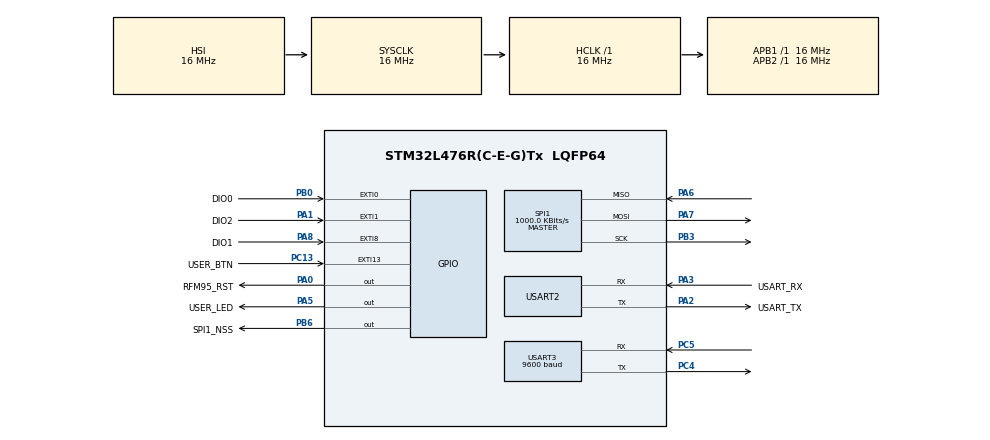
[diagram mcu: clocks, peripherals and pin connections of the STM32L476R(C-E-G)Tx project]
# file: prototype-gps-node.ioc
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Mcu.Family=STM32L4
Mcu.Name=STM32L476R(C-E-G)Tx
Mcu.Package=LQFP64
NVIC.EXTI0_IRQn=true\:0\:0\:false\:false\:true\:true\:true
NVIC.EXTI15_10_IRQn=true\:0\:0\:false\:false\:true\:true\:true
NVIC.EXTI1_IRQn=true\:0\:0\:false\:false\:true\:true\:true
NVIC.EXTI9_5_IRQn=true\:0\:0\:false\:false\:true\:true\:true
NVIC.PriorityGroup=NVIC_PRIORITYGROUP_4
NVIC.SPI1_IRQn=true\:0\:0\:false\:false\:true\:true\:true
NVIC.USART3_IRQn=true\:0\:0\:false\:false\:true\:true\:true
PA0.GPIO_Label=RFM95_RST
PA0.GPIO_ModeDefaultOutputPP=GPIO_MODE_OUTPUT_OD
PA0.PinState=GPIO_PIN_SET
PA0.Signal=GPIO_Output
PA1.GPIO_Label=DIO2
PA1.Signal=GPXTI1
PA13\ (JTMS-SWDIO).GPIO_Label=TMS
PA13\ (JTMS-SWDIO).Mode=Serial_Wire
PA13\ (JTMS-SWDIO).Signal=SYS_JTMS-SWDIO
PA14\ (JTCK-SWCLK).GPIO_Label=TCK
PA14\ (JTCK-SWCLK).Mode=Serial_Wire
PA14\ (JTCK-SWCLK).Signal=SYS_JTCK-SWCLK
PA2.GPIO_Label=USART_TX
PA2.GPIO_Mode=GPIO_MODE_AF_PP
PA2.GPIO_PuPd=GPIO_NOPULL
PA2.GPIO_Speed=GPIO_SPEED_FREQ_VERY_HIGH
PA2.Mode=Asynchronous
PA2.Signal=USART2_TX
PA3.GPIO_Label=USART_RX
PA3.GPIO_Mode=GPIO_MODE_AF_PP
PA3.GPIO_PuPd=GPIO_NOPULL
PA3.GPIO_Speed=GPIO_SPEED_FREQ_VERY_HIGH
PA3.Mode=Asynchronous
PA3.Signal=USART2_RX
PA5.GPIO_Label=USER_LED
PA5.Signal=GPIO_Output
PA6.Mode=Full_Duplex_Master
PA6.Signal=SPI1_MISO
PA7.Mode=Full_Duplex_Master
PA7.Signal=SPI1_MOSI
PA8.GPIO_Label=DIO1
PA8.Signal=GPXTI8
PB0.GPIO_Label=DIO0
PB0.Signal=GPXTI0
PB3\ (JTDO-TRACESWO).Mode=Full_Duplex_Master
PB3\ (JTDO-TRACESWO).Signal=SPI1_SCK
PB6.GPIO_Label=SPI1_NSS
PB6.Signal=GPIO_Output
PC13.GPIO_Label=USER_BTN
PC13.Signal=GPXTI13
PC14-OSC32_IN\ (PC14).Mode=LSE-External-Oscillator
PC14-OSC32_IN\ (PC14).Signal=RCC_OSC32_IN
PC15-OSC32_OUT\ (PC15).Mode=LSE-External-Oscillator
PC15-OSC32_OUT\ (PC15).Signal=RCC_OSC32_OUT
PC4.Mode=Asynchronous
PC4.Signal=USART3_TX
PC5.Mode=Asynchronous
PC5.Signal=USART3_RX
PH0-OSC_IN\ (PH0).Signal=RCC_OSC_IN
PH1-OSC_OUT\ (PH1).Signal=RCC_OSC_OUT
ProjectManager.HeapSize=0x200
ProjectManager.StackSize=0x400
ProjectManager.TargetToolchain=STM32CubeIDE
RCC.ADCFreq_Value=64000000
RCC.AHBFreq_Value=16000000
RCC.APB1Freq_Value=16000000
RCC.APB1TimFreq_Value=16000000
RCC.APB2Freq_Value=16000000
RCC.APB2TimFreq_Value=16000000
RCC.CortexFreq_Value=16000000
RCC.HCLKFreq_Value=16000000
RCC.HSE_VALUE=8000000
RCC.HSI_VALUE=16000000
RCC.MSI_VALUE=4000000
RCC.PLLN=10
RCC.PLLSourceVirtual=RCC_PLLSOURCE_HSI
RCC.PREFETCH_ENABLE=1
RCC.SYSCLKFreq_VALUE=16000000
RCC.SYSCLKSource=RCC_SYSCLKSOURCE_HSI
RCC.USBFreq_Value=64000000
RCC.VCOOutputFreq_Value=160000000
SPI1.BaudRatePrescaler=SPI_BAUDRATEPRESCALER_16
SPI1.CalculateBaudRate=1000.0 KBits/s
SPI1.DataSize=SPI_DATASIZE_8BIT
SPI1.Direction=SPI_DIRECTION_2LINES
SPI1.Mode=SPI_MODE_MASTER
SPI1.VirtualType=VM_MASTER
USART2.VirtualMode-Asynchronous=VM_ASYNC
USART3.BaudRate=9600
USART3.VirtualMode-Asynchronous=VM_ASYNC
VP_TIM3_VS_ClockSourceINT.Mode=Internal
board=NUCLEO-L476RG

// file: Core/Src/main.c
/* USER CODE BEGIN Header */
/**
  ******************************************************************************
  * @file           : main.c
  * @brief          : Main program body
  ******************************************************************************
  * @attention
  *
  * <h2><center>&copy; Copyright (c) 2021 STMicroelectronics.
  * All rights reserved.</center></h2>
  *
  * This software component is licensed by ST under BSD 3-Clause license,
  * the "License"; You may not use this file except in compliance with the
  * License. You may obtain a copy of the License at:
  *                        opensource.org/licenses/BSD-3-Clause
  *
  ******************************************************************************
  */
/* USER CODE END Header */
#include "main.h"

/* USER CODE BEGIN Includes */
#include <stdio.h>
#include <string.h>
/* USER CODE END Includes */

/* USER CODE BEGIN PTD */
typedef struct {
	float latitude ;
	float longitude;
	float utctime;
	char ns;
	char ew;
	char valid;
}GPS;
/* USER CODE END PTD */

/* USER CODE BEGIN PD */
#define LORA_MESSAGE_NUM_BYTES      10
/* USER CODE END PD */

/* USER CODE BEGIN PM */
//Choose Spreading Factor with this macro.
#define LORA_SF 					DR_SF7
/* USER CODE END PM */

SPI_HandleTypeDef hspi1;

TIM_HandleTypeDef htim3;

UART_HandleTypeDef huart2;
UART_HandleTypeDef huart3;

/* USER CODE BEGIN PV */

/*
 * GPS PV
 */
uint32_t RxIndex = 0;
uint8_t RxData = 0;
uint8_t GPSBuffer[100] = {0};

GPS gps = {0};

/*
 * LoRaWAN PV
 */
static volatile uint32_t tick = 0;

/* USER CODE END PV */

void SystemClock_Config(void);
static void MX_GPIO_Init(void);
static void MX_USART2_UART_Init(void);
static void MX_SPI1_Init(void);
static void MX_USART3_UART_Init(void);
static void MX_TIM3_Init(void);
/* USER CODE BEGIN PFP */

/*
 * GPS PFP
 */
void SaveGPSData();

/*
 * LoRaWAN PFP
 */
uint8_t getSysTickActiveCounterFlag();
void MYPRINT(char *);
/* USER CODE END PFP */

/* USER CODE BEGIN 0 */
// This EUI must be in little-endian format, so least-significant-byte
// first. When copying an EUI from ttnctl output, this means to reverse
// the bytes. For TTN issued EUIs the last bytes should be 0xD5, 0xB3,
// 0x70.
static const u1_t APPEUI[8] = {0x5F, 0x9B, 0x1C, 0x3F, 0x8B, 0x4A, 0x4A, 0x00};
void os_getArtEui(u1_t *buf) {
	memcpy(buf, APPEUI, 8);
}

// This should also be in little endian format, see above.
static const u1_t DEVEUI[8] = { 0x5F, 0x37, 0x04, 0xD0, 0x7E, 0xD5, 0xB3, 0x70 };
void os_getDevEui(u1_t *buf) {
	memcpy(buf, DEVEUI, 8);
}

// This key should be in big endian format (or, since it is not really a
// number but a block of memory, endianness does not really apply). In
// practice, a key taken from ttnctl can be copied as-is.
static const u1_t APPKEY[16] = { 0xA4, 0x38, 0xC0, 0x57, 0x17, 0xEF, 0xEF, 0xBB, 0xE2, 0x5D, 0xB4, 0x9B, 0x7B, 0xB1, 0x34, 0x63 };
void os_getDevKey(u1_t *buf) {
	memcpy(buf, APPKEY, 16);
}

static uint8_t loradata[LORA_MESSAGE_NUM_BYTES] = { 0 };
static uint8_t lora_port = 2;
static uint8_t lora_confirmed = 0;
static osjob_t sendjob;

static uint16_t retry_interval = 1; // check for no pending jobs next secs to go to sleep
static volatile uint8_t txcomplete = 0; // set, when tx done and ready for next sleep

const lmic_pinmap lmic_pins = { .nss = 6, .rxtx = LMIC_UNUSED_PIN, .rst = 5,
		.dio = { 2, 3, LMIC_UNUSED_PIN }, };

void do_send(osjob_t *j) {
	lmic_tx_error_t error = 0;

	// Check if there is not a current TX/RX job running
	if (LMIC.opmode & OP_TXRXPEND) {
		MYPRINT("OP_TXRXPEND, not sending\r\n");
	} else {
		MYPRINT("Packet queued\r\n");
		// Prepare upstream data transmission at the next possible time.
		error = LMIC_setTxData2(lora_port, loradata, LORA_MESSAGE_NUM_BYTES,
				lora_confirmed);
	}

	switch (error) {
	case LMIC_ERROR_TX_BUSY:
		MYPRINT("LMIC_ERROR_TX_BUSY\r\n");
		break;
	case LMIC_ERROR_TX_TOO_LARGE:
		MYPRINT("LMIC_ERROR_TX_TOO_LARGE\r\n");
		break;
	case LMIC_ERROR_TX_NOT_FEASIBLE:
		MYPRINT("LMIC_ERROR_TX_NOT_FEASIBLE\r\n");
		break;
	case LMIC_ERROR_TX_FAILED:
		MYPRINT("LMIC_ERROR_TX_FAILED\r\n");
		break;
	default:
		break;
	}
}

void onEvent(ev_t ev) {
	switch (ev) {
	case EV_SCAN_TIMEOUT:
		MYPRINT("EV_SCAN_TIMEOUT\r\n");
		break;
	case EV_BEACON_FOUND:
		MYPRINT("EV_BEACON_FOUND\r\n");
		break;
	case EV_BEACON_MISSED:
		MYPRINT("EV_BEACON_MISSED\r\n");
		break;
	case EV_BEACON_TRACKED:
		MYPRINT("EV_BEACON_TRACKED\r\n");
		break;
	case EV_JOINING:
		// normally starts at DR_SF7 and increases if not heard
		// /* set SF10 to get reliable join, potentially decreased over time by ADR */
		// LMIC_setDrTxpow(DR_SF10,14);
		MYPRINT("EV_JOINING\r\n");
		break;
	case EV_JOINED:
		MYPRINT("EV_JOINED\r\n");
		/* enable ADR */
//		LMIC_setAdrMode(1);
		LMIC_setAdrMode(0);
		// Disable link check validation (automatically enabled
		// during join, but not supported by TTN at this time).
		LMIC_setLinkCheckMode(0);
		break;
	case EV_JOIN_FAILED:
		MYPRINT("EV_JOIN_FAILED\r\n");
		break;
	case EV_REJOIN_FAILED:
		MYPRINT("EV_REJOIN_FAILED\r\n");
		break;
	case EV_TXCOMPLETE:
		MYPRINT("EV_TXCOMPLETE\r\n");
		if (LMIC.txrxFlags & TXRX_ACK) {
			MYPRINT("Received ack\r\n");
		}

		if (LMIC.dataLen) {
			MYPRINT("Received data\r\n");

//              fence_parse_rx(&(LMIC.frame[LMIC.dataBeg]), LMIC.dataLen);
		}
		HAL_NVIC_EnableIRQ(EXTI15_10_IRQn);
		txcomplete = 1;
		break;
	case EV_JOIN_TXCOMPLETE:
		// join accept not received
		MYPRINT("EV_JOIN_TXCOMPLETE\r\n");
		break;
	case EV_LOST_TSYNC:
		MYPRINT("EV_LOST_TSYNC\r\n");
		break;
	case EV_RESET:
		MYPRINT("EV_RESET\r\n");
		break;
	case EV_RXCOMPLETE:
		// data received in ping slot
		MYPRINT("EV_RXCOMPLETE\r\n");
		break;
	case EV_LINK_DEAD:
		MYPRINT("EV_LINK_DEAD\r\n");
		break;
	case EV_LINK_ALIVE:
		MYPRINT("EV_LINK_ALIVE\r\n");
		break;
	case EV_TXSTART:
		MYPRINT("EV_TXSTART\r\n");
		break;
	default:
		MYPRINT("Unknown event\r\n");
		break;
	}
}
/* USER CODE END 0 */

int main(void)
{

  /* MCU Configuration--------------------------------------------------------*/

  /* Reset of all peripherals, Initializes the Flash interface and the Systick. */
  HAL_Init();

  /* Configure the system clock */
  SystemClock_Config();

  /* Initialize all configured peripherals */
  MX_GPIO_Init();
  MX_USART2_UART_Init();
  MX_SPI1_Init();
  MX_USART3_UART_Init();
  MX_TIM3_Init();
  /* USER CODE BEGIN 2 */
  HAL_TIM_Base_Start(&htim3);

  MYPRINT("LMiC init\r\n");
  LMIC_setDrTxpow(LORA_SF, 14);
  os_init();
  LMIC_reset();
  LMIC_setClockError(MAX_CLOCK_ERROR * 5 / 100);
  txcomplete = 0;

  //Probando algo de un foro

  //Aqui comienza la Prueba
  LMIC_selectSubBand(1);
  //Disable FSB1, channels 0-7
  for(int i = 0; i < 7; i++)
  {
	  //		  if (i != 10)
	  LMIC_disableChannel(i);
  }

  //Disable FSB3-8, channels 16-72+
  for (int i = 16; i < 73; i++)
  {
	  //		  if (i != 10)
	  LMIC_disableChannel(i);
  }

  LMIC_setAdrMode(0);
  LMIC.dn2Dr = LORA_SF;

  // Set data rate and transmit power for uplink (note: txpow seems to be ignored by the library)
  LMIC_setDrTxpow(LORA_SF, 14);

  //Aqui termina la prueba

//  loradata[0] = 10;
//  do_send(&sendjob);

  GPSInit();
  /* USER CODE END 2 */

  /* Infinite loop */
  /* USER CODE BEGIN WHILE */
  while (1)
  {
	  os_runloop_once();
	  /* when no jobs pending and not joining, go to standby */
	  if (!os_queryTimeCriticalJobs(sec2osticks(retry_interval)) && !(LMIC.opmode & OP_JOINING) && !(LMIC.opmode & OP_TXRXPEND))
	  {
		  if (txcomplete) {
			HAL_GPIO_TogglePin(USER_LED_GPIO_Port, USER_LED_Pin);
			HAL_Delay(1000);
		  }
		  else
		  {
			// TODO: timeout with txcomplete check
		  }
	  }
    /* USER CODE END WHILE */

  }
}

void SystemClock_Config(void)
{
  RCC_OscInitTypeDef RCC_OscInitStruct = {0};
  RCC_ClkInitTypeDef RCC_ClkInitStruct = {0};

  /** Configure the main internal regulator output voltage
  */
  if (HAL_PWREx_ControlVoltageScaling(PWR_REGULATOR_VOLTAGE_SCALE1) != HAL_OK)
  {
    Error_Handler();
  }
  /** Initializes the RCC Oscillators according to the specified parameters
  * in the RCC_OscInitTypeDef structure.
  */
  RCC_OscInitStruct.OscillatorType = RCC_OSCILLATORTYPE_HSI;
  RCC_OscInitStruct.HSIState = RCC_HSI_ON;
  RCC_OscInitStruct.HSICalibrationValue = RCC_HSICALIBRATION_DEFAULT;
  RCC_OscInitStruct.PLL.PLLState = RCC_PLL_NONE;
  if (HAL_RCC_OscConfig(&RCC_OscInitStruct) != HAL_OK)
  {
    Error_Handler();
  }
  /** Initializes the CPU, AHB and APB buses clocks
  */
  RCC_ClkInitStruct.ClockType = RCC_CLOCKTYPE_HCLK|RCC_CLOCKTYPE_SYSCLK
                              |RCC_CLOCKTYPE_PCLK1|RCC_CLOCKTYPE_PCLK2;
  RCC_ClkInitStruct.SYSCLKSource = RCC_SYSCLKSOURCE_HSI;
  RCC_ClkInitStruct.AHBCLKDivider = RCC_SYSCLK_DIV1;
  RCC_ClkInitStruct.APB1CLKDivider = RCC_HCLK_DIV1;
  RCC_ClkInitStruct.APB2CLKDivider = RCC_HCLK_DIV1;

  if (HAL_RCC_ClockConfig(&RCC_ClkInitStruct, FLASH_LATENCY_0) != HAL_OK)
  {
    Error_Handler();
  }
}

static void MX_SPI1_Init(void)
{

  /* SPI1 parameter configuration*/
  hspi1.Instance = SPI1;
  hspi1.Init.Mode = SPI_MODE_MASTER;
  hspi1.Init.Direction = SPI_DIRECTION_2LINES;
  hspi1.Init.DataSize = SPI_DATASIZE_8BIT;
  hspi1.Init.CLKPolarity = SPI_POLARITY_LOW;
  hspi1.Init.CLKPhase = SPI_PHASE_1EDGE;
  hspi1.Init.NSS = SPI_NSS_SOFT;
  hspi1.Init.BaudRatePrescaler = SPI_BAUDRATEPRESCALER_16;
  hspi1.Init.FirstBit = SPI_FIRSTBIT_MSB;
  hspi1.Init.TIMode = SPI_TIMODE_DISABLE;
  hspi1.Init.CRCCalculation = SPI_CRCCALCULATION_DISABLE;
  hspi1.Init.CRCPolynomial = 7;
  hspi1.Init.CRCLength = SPI_CRC_LENGTH_DATASIZE;
  hspi1.Init.NSSPMode = SPI_NSS_PULSE_ENABLE;
  if (HAL_SPI_Init(&hspi1) != HAL_OK)
  {
    Error_Handler();
  }

}

static void MX_TIM3_Init(void)
{

  TIM_ClockConfigTypeDef sClockSourceConfig = {0};
  TIM_MasterConfigTypeDef sMasterConfig = {0};

  htim3.Instance = TIM3;
  htim3.Init.Prescaler = 0;
  htim3.Init.CounterMode = TIM_COUNTERMODE_UP;
  htim3.Init.Period = 65535;
  htim3.Init.ClockDivision = TIM_CLOCKDIVISION_DIV1;
  htim3.Init.AutoReloadPreload = TIM_AUTORELOAD_PRELOAD_DISABLE;
  if (HAL_TIM_Base_Init(&htim3) != HAL_OK)
  {
    Error_Handler();
  }
  sClockSourceConfig.ClockSource = TIM_CLOCKSOURCE_INTERNAL;
  if (HAL_TIM_ConfigClockSource(&htim3, &sClockSourceConfig) != HAL_OK)
  {
    Error_Handler();
  }
  sMasterConfig.MasterOutputTrigger = TIM_TRGO_RESET;
  sMasterConfig.MasterSlaveMode = TIM_MASTERSLAVEMODE_DISABLE;
  if (HAL_TIMEx_MasterConfigSynchronization(&htim3, &sMasterConfig) != HAL_OK)
  {
    Error_Handler();
  }

}

static void MX_USART2_UART_Init(void)
{

  huart2.Instance = USART2;
  huart2.Init.BaudRate = 115200;
  huart2.Init.WordLength = UART_WORDLENGTH_8B;
  huart2.Init.StopBits = UART_STOPBITS_1;
  huart2.Init.Parity = UART_PARITY_NONE;
  huart2.Init.Mode = UART_MODE_TX_RX;
  huart2.Init.HwFlowCtl = UART_HWCONTROL_NONE;
  huart2.Init.OverSampling = UART_OVERSAMPLING_16;
  huart2.Init.OneBitSampling = UART_ONE_BIT_SAMPLE_DISABLE;
  huart2.AdvancedInit.AdvFeatureInit = UART_ADVFEATURE_NO_INIT;
  if (HAL_UART_Init(&huart2) != HAL_OK)
  {
    Error_Handler();
  }

}

static void MX_USART3_UART_Init(void)
{

  huart3.Instance = USART3;
  huart3.Init.BaudRate = 9600;
  huart3.Init.WordLength = UART_WORDLENGTH_8B;
  huart3.Init.StopBits = UART_STOPBITS_1;
  huart3.Init.Parity = UART_PARITY_NONE;
  huart3.Init.Mode = UART_MODE_TX_RX;
  huart3.Init.HwFlowCtl = UART_HWCONTROL_NONE;
  huart3.Init.OverSampling = UART_OVERSAMPLING_16;
  huart3.Init.OneBitSampling = UART_ONE_BIT_SAMPLE_DISABLE;
  huart3.AdvancedInit.AdvFeatureInit = UART_ADVFEATURE_NO_INIT;
  if (HAL_UART_Init(&huart3) != HAL_OK)
  {
    Error_Handler();
  }

}

static void MX_GPIO_Init(void)
{
  GPIO_InitTypeDef GPIO_InitStruct = {0};

  /* GPIO Ports Clock Enable */
  __HAL_RCC_GPIOC_CLK_ENABLE();
  __HAL_RCC_GPIOH_CLK_ENABLE();
  __HAL_RCC_GPIOA_CLK_ENABLE();
  __HAL_RCC_GPIOB_CLK_ENABLE();

  /*Configure GPIO pin Output Level */
  HAL_GPIO_WritePin(RFM95_RST_GPIO_Port, RFM95_RST_Pin, GPIO_PIN_SET);

  /*Configure GPIO pin Output Level */
  HAL_GPIO_WritePin(USER_LED_GPIO_Port, USER_LED_Pin, GPIO_PIN_RESET);

  /*Configure GPIO pin Output Level */
  HAL_GPIO_WritePin(SPI1_NSS_GPIO_Port, SPI1_NSS_Pin, GPIO_PIN_RESET);

  /*Configure GPIO pin : USER_BTN_Pin */
  GPIO_InitStruct.Pin = USER_BTN_Pin;
  GPIO_InitStruct.Mode = GPIO_MODE_IT_RISING;
  GPIO_InitStruct.Pull = GPIO_NOPULL;
  HAL_GPIO_Init(USER_BTN_GPIO_Port, &GPIO_InitStruct);

  /*Configure GPIO pin : RFM95_RST_Pin */
  GPIO_InitStruct.Pin = RFM95_RST_Pin;
  GPIO_InitStruct.Mode = GPIO_MODE_OUTPUT_OD;
  GPIO_InitStruct.Pull = GPIO_NOPULL;
  GPIO_InitStruct.Speed = GPIO_SPEED_FREQ_LOW;
  HAL_GPIO_Init(RFM95_RST_GPIO_Port, &GPIO_InitStruct);

  /*Configure GPIO pins : DIO2_Pin DIO1_Pin */
  GPIO_InitStruct.Pin = DIO2_Pin|DIO1_Pin;
  GPIO_InitStruct.Mode = GPIO_MODE_IT_RISING;
  GPIO_InitStruct.Pull = GPIO_NOPULL;
  HAL_GPIO_Init(GPIOA, &GPIO_InitStruct);

  /*Configure GPIO pin : USER_LED_Pin */
  GPIO_InitStruct.Pin = USER_LED_Pin;
  GPIO_InitStruct.Mode = GPIO_MODE_OUTPUT_PP;
  GPIO_InitStruct.Pull = GPIO_NOPULL;
  GPIO_InitStruct.Speed = GPIO_SPEED_FREQ_LOW;
  HAL_GPIO_Init(USER_LED_GPIO_Port, &GPIO_InitStruct);

  /*Configure GPIO pin : DIO0_Pin */
  GPIO_InitStruct.Pin = DIO0_Pin;
  GPIO_InitStruct.Mode = GPIO_MODE_IT_RISING;
  GPIO_InitStruct.Pull = GPIO_NOPULL;
  HAL_GPIO_Init(DIO0_GPIO_Port, &GPIO_InitStruct);

  /*Configure GPIO pin : SPI1_NSS_Pin */
  GPIO_InitStruct.Pin = SPI1_NSS_Pin;
  GPIO_InitStruct.Mode = GPIO_MODE_OUTPUT_PP;
  GPIO_InitStruct.Pull = GPIO_NOPULL;
  GPIO_InitStruct.Speed = GPIO_SPEED_FREQ_LOW;
  HAL_GPIO_Init(SPI1_NSS_GPIO_Port, &GPIO_InitStruct);

  /* EXTI interrupt init*/
  HAL_NVIC_SetPriority(EXTI0_IRQn, 0, 0);
  HAL_NVIC_EnableIRQ(EXTI0_IRQn);

  HAL_NVIC_SetPriority(EXTI1_IRQn, 0, 0);
  HAL_NVIC_EnableIRQ(EXTI1_IRQn);

  HAL_NVIC_SetPriority(EXTI9_5_IRQn, 0, 0);
  HAL_NVIC_EnableIRQ(EXTI9_5_IRQn);

  HAL_NVIC_SetPriority(EXTI15_10_IRQn, 0, 0);
  HAL_NVIC_EnableIRQ(EXTI15_10_IRQn);

}

/* USER CODE BEGIN 4 */

void UART_GPS_Handler()
{
	if (RxData == '$')
	{
		RxIndex = 0;
		GPSBuffer[RxIndex] = RxData;
		HAL_UART_Receive_IT(&huart3, &RxData, 1);
	}
	else if (RxData == '\n')
	{
		RxIndex++;
		GPSBuffer[RxIndex] = RxData;
		//TODO: que guarde lo que recibio en el struct
		SaveGPSData();
	}
	else
	{
		RxIndex++;
		GPSBuffer[RxIndex] = RxData;
		HAL_UART_Receive_IT(&huart3, &RxData, 1);
	}
}

void GPSInit()
{
	HAL_NVIC_DisableIRQ(EXTI15_10_IRQn);
	HAL_GPIO_WritePin(USER_LED_GPIO_Port, USER_LED_Pin, 1);
	txcomplete = 0;
	char message[] = "Taking reading...\r\n";
	HAL_UART_Transmit(&huart2, (uint8_t *) message, sizeof(message), 100);
	HAL_UART_Receive_IT(&huart3, &RxData, 1);
}

void GPSRetry()
{
	HAL_UART_Receive_IT(&huart3, &RxData, 1);
}

void SaveGPSData()
{
	if (!strncmp((char *) GPSBuffer, "$GPGLL", 6))
	{
		if (sscanf((char *) GPSBuffer, "$GPGLL,%f,%c,%f,%c,%f,%c", &gps.latitude, &gps.ns, &gps.longitude, &gps.ew, &gps.utctime, &gps.valid) != 6)
		{
			GPSRetry();
		}
		else
		{
			char message[] = "Location obtained.\r\n\n";
			HAL_UART_Transmit(&huart2, (uint8_t *) message, sizeof(message), 100);

//			GPS *ptr = (GPS *) loradata;
//			*ptr = gps;

			float *ptr = (float *) loradata;
			*ptr = gps.latitude;
			*(ptr+1) = gps.longitude;

			loradata[8] = gps.ns;
			loradata[9] = gps.ew;

			do_send(&sendjob);
		}
	}
	else
	{
		GPSRetry();
	}
}

void MYPRINT(char *msg) {
	HAL_UART_Transmit(&huart2, (uint8_t*) msg, strlen(msg) + 1,
	HAL_MAX_DELAY); //TODO: Revisar lo del timeout
}

HAL_StatusTypeDef HAL_InitTick(uint32_t TickPriority) {
	/*Configure the SysTick to have interrupt in 1ms time basis*/
	HAL_SYSTICK_Config(SystemCoreClock / 1000);

	/*Configure the SysTick IRQ priority */
	HAL_NVIC_SetPriority(SysTick_IRQn, TickPriority, 0);

	/* Return function status */
	return HAL_OK;
}

uint32_t getCurrentMicro(void)
{
  /* Ensure COUNTFLAG is reset by reading SysTick control and status register */
//  LL_SYSTICK_IsActiveCounterFlag();
  //por ahora yo, mirar si la HAL tiene algo para esto
  getSysTickActiveCounterFlag();

  //Porque se hace esto 2 veces?
  uint32_t m = HAL_GetTick();
  uint32_t u = SysTick->LOAD - SysTick->VAL;

  if(getSysTickActiveCounterFlag())
  {
    m = HAL_GetTick();
    u = SysTick->LOAD - SysTick->VAL;
  }
  return ( m * 1000 + (u * 1000) / SysTick->LOAD);
}

uint8_t getSysTickActiveCounterFlag()
{
	return ((SysTick->CTRL & SysTick_CTRL_COUNTFLAG_Msk) == (SysTick_CTRL_COUNTFLAG_Msk));
}

void HAL_IncTick(void)
{
	tick += (uint32_t) uwTickFreq;
}

uint32_t HAL_GetTick(void)
{
	return tick;
}
/* USER CODE END 4 */

void Error_Handler(void)
{
  __disable_irq();
  while (1)
  {
  }
}

/************************ (C) COPYRIGHT STMicroelectronics *****END OF FILE****/
